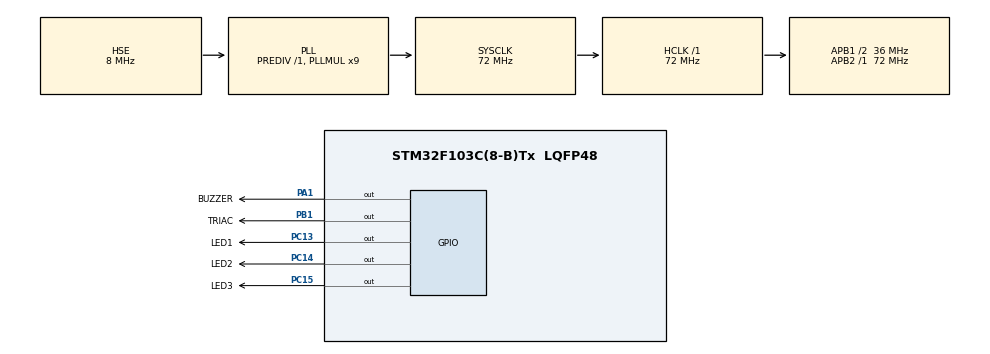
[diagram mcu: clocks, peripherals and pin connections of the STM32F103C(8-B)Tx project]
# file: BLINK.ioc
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Mcu.Family=STM32F1
Mcu.Name=STM32F103C(8-B)Tx
Mcu.Package=LQFP48
NVIC.PriorityGroup=NVIC_PRIORITYGROUP_4
NVIC.TIM1_BRK_IRQn=true\:0\:0\:false\:false\:true\:true\:true\:true
NVIC.TIM1_CC_IRQn=true\:0\:0\:false\:false\:true\:true\:true\:true
NVIC.TIM1_TRG_COM_IRQn=true\:0\:0\:false\:false\:true\:true\:true\:true
NVIC.TIM1_UP_IRQn=true\:0\:0\:false\:false\:true\:true\:true\:true
PA1.GPIO_Label=BUZZER
PA1.GPIO_Speed=GPIO_SPEED_FREQ_HIGH
PA1.Signal=GPIO_Output
PA13.Mode=Serial_Wire
PA13.Signal=SYS_JTMS-SWDIO
PA14.Mode=Serial_Wire
PA14.Signal=SYS_JTCK-SWCLK
PB1.GPIO_Label=TRIAC
PB1.GPIO_Speed=GPIO_SPEED_FREQ_HIGH
PB1.Signal=GPIO_Output
PC13-TAMPER-RTC.GPIO_Label=LED1
PC13-TAMPER-RTC.GPIO_Speed=GPIO_SPEED_FREQ_HIGH
PC13-TAMPER-RTC.PinState=GPIO_PIN_SET
PC13-TAMPER-RTC.Signal=GPIO_Output
PC14-OSC32_IN.GPIO_Label=LED2
PC14-OSC32_IN.GPIO_Speed=GPIO_SPEED_FREQ_HIGH
PC14-OSC32_IN.Signal=GPIO_Output
PC15-OSC32_OUT.GPIO_Label=LED3
PC15-OSC32_OUT.GPIO_Speed=GPIO_SPEED_FREQ_HIGH
PC15-OSC32_OUT.Signal=GPIO_Output
PD0-OSC_IN.Mode=HSE-External-Oscillator
PD0-OSC_IN.Signal=RCC_OSC_IN
PD1-OSC_OUT.Mode=HSE-External-Oscillator
PD1-OSC_OUT.Signal=RCC_OSC_OUT
ProjectManager.HeapSize=0x200
ProjectManager.StackSize=0x400
ProjectManager.TargetToolchain=STM32CubeIDE
RCC.AHBFreq_Value=72000000
RCC.APB1CLKDivider=RCC_HCLK_DIV2
RCC.APB1Freq_Value=36000000
RCC.APB1TimFreq_Value=72000000
RCC.APB2Freq_Value=72000000
RCC.APB2TimFreq_Value=72000000
RCC.HCLKFreq_Value=72000000
RCC.PLLMUL=RCC_PLL_MUL9
RCC.PLLSourceVirtual=RCC_PLLSOURCE_HSE
RCC.SYSCLKFreq_VALUE=72000000
RCC.SYSCLKSource=RCC_SYSCLKSOURCE_PLLCLK
RCC.USBFreq_Value=72000000
TIM1.Prescaler=72-1
VP_TIM1_VS_ClockSourceINT.Mode=Internal
board=custom

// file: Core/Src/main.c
/* USER CODE BEGIN Header */
/**
  ******************************************************************************
  * @file           : main.c
  * @brief          : Main program body
  ******************************************************************************
  * @attention
  *
  * Copyright (c) 2023 STMicroelectronics.
  * All rights reserved.
  *
  * This software is licensed under terms that can be found in the LICENSE file
  * in the root directory of this software component.
  * If no LICENSE file comes with this software, it is provided AS-IS.
  *
  ******************************************************************************
  */
/* USER CODE END Header */
#include "main.h"

/* USER CODE BEGIN PM */
#define LED_ON 0
#define LED_OFF 1
/* USER CODE END PM */

TIM_HandleTypeDef htim1;

/* USER CODE BEGIN PV */
uint16_t counter = 0;
uint32_t t1 = 0;
uint32_t t2 = 0;
uint32_t t3 = 0;
uint32_t t4 = 0;
uint8_t ledStatus1 = 0;
uint8_t ledStatus2 = 0;
uint8_t ledStatus3 = 0;
uint8_t ledStatus4 = 0;
/* USER CODE END PV */

void SystemClock_Config(void);
static void MX_GPIO_Init(void);
static void MX_TIM1_Init(void);

int main(void)
{
  /* USER CODE BEGIN 1 */
//	uint32_t t1 = 0;
//	uint8_t ledStatus = 0;

  /* USER CODE END 1 */

  /* MCU Configuration--------------------------------------------------------*/

  /* Reset of all peripherals, Initializes the Flash interface and the Systick. */
  HAL_Init();

  /* Configure the system clock */
  SystemClock_Config();

  /* Initialize all configured peripherals */
  MX_GPIO_Init();
  MX_TIM1_Init();
  /* USER CODE BEGIN 2 */
  HAL_TIM_Base_Start_IT(&htim1);
  HAL_GPIO_WritePin(TRIAC_GPIO_Port, TRIAC_Pin, 1);
  /* USER CODE END 2 */

  /* Infinite loop */
  /* USER CODE BEGIN WHILE */
  while (1)
  {
	  if(HAL_GetTick() - t1 >= 500){
		  t1 = HAL_GetTick();
		  ledStatus1 = ~ledStatus1;
		  HAL_GPIO_WritePin(LED1_GPIO_Port, LED1_Pin, ledStatus1);
	  }
	  if(HAL_GetTick() - t2 >= 1000){
		  t2 = HAL_GetTick();
		  ledStatus2 = ~ledStatus2;
		  HAL_GPIO_WritePin(LED2_GPIO_Port, LED2_Pin, ledStatus2);
	  }
	  if(HAL_GetTick() - t3 >= 1500){
		  t3 = HAL_GetTick();
		  ledStatus3 = ~ledStatus3;
		  HAL_GPIO_WritePin(LED3_GPIO_Port, LED3_Pin, ledStatus3);
	  }
	  if(HAL_GetTick() - t4 >= 1){
		  t4 = HAL_GetTick();
		  ledStatus4 = ~ledStatus4;
		  HAL_GPIO_WritePin(BUZZER_GPIO_Port, BUZZER_Pin, ledStatus4);
	  }
//---------------------------------BLINK LED--------------------------------//
//	  HAL_GPIO_WritePin(LED_GPIO_Port, LED_Pin, LED_ON);
//	  HAL_Delay(500);
//	  HAL_GPIO_WritePin(LED_GPIO_Port, LED_Pin, LED_OFF);
//	  HAL_Delay(500);

    /* USER CODE END WHILE */

  }
}

void SystemClock_Config(void)
{
  RCC_OscInitTypeDef RCC_OscInitStruct = {0};
  RCC_ClkInitTypeDef RCC_ClkInitStruct = {0};

  /** Initializes the RCC Oscillators according to the specified parameters
  * in the RCC_OscInitTypeDef structure.
  */
  RCC_OscInitStruct.OscillatorType = RCC_OSCILLATORTYPE_HSE;
  RCC_OscInitStruct.HSEState = RCC_HSE_ON;
  RCC_OscInitStruct.HSEPredivValue = RCC_HSE_PREDIV_DIV1;
  RCC_OscInitStruct.HSIState = RCC_HSI_ON;
  RCC_OscInitStruct.PLL.PLLState = RCC_PLL_ON;
  RCC_OscInitStruct.PLL.PLLSource = RCC_PLLSOURCE_HSE;
  RCC_OscInitStruct.PLL.PLLMUL = RCC_PLL_MUL9;
  if (HAL_RCC_OscConfig(&RCC_OscInitStruct) != HAL_OK)
  {
    Error_Handler();
  }

  /** Initializes the CPU, AHB and APB buses clocks
  */
  RCC_ClkInitStruct.ClockType = RCC_CLOCKTYPE_HCLK|RCC_CLOCKTYPE_SYSCLK
                              |RCC_CLOCKTYPE_PCLK1|RCC_CLOCKTYPE_PCLK2;
  RCC_ClkInitStruct.SYSCLKSource = RCC_SYSCLKSOURCE_PLLCLK;
  RCC_ClkInitStruct.AHBCLKDivider = RCC_SYSCLK_DIV1;
  RCC_ClkInitStruct.APB1CLKDivider = RCC_HCLK_DIV2;
  RCC_ClkInitStruct.APB2CLKDivider = RCC_HCLK_DIV1;

  if (HAL_RCC_ClockConfig(&RCC_ClkInitStruct, FLASH_LATENCY_2) != HAL_OK)
  {
    Error_Handler();
  }
}

static void MX_TIM1_Init(void)
{

  TIM_ClockConfigTypeDef sClockSourceConfig = {0};
  TIM_MasterConfigTypeDef sMasterConfig = {0};

  htim1.Instance = TIM1;
  htim1.Init.Prescaler = 72-1;
  htim1.Init.CounterMode = TIM_COUNTERMODE_UP;
  htim1.Init.Period = 65535;
  htim1.Init.ClockDivision = TIM_CLOCKDIVISION_DIV1;
  htim1.Init.RepetitionCounter = 0;
  htim1.Init.AutoReloadPreload = TIM_AUTORELOAD_PRELOAD_DISABLE;
  if (HAL_TIM_Base_Init(&htim1) != HAL_OK)
  {
    Error_Handler();
  }
  sClockSourceConfig.ClockSource = TIM_CLOCKSOURCE_INTERNAL;
  if (HAL_TIM_ConfigClockSource(&htim1, &sClockSourceConfig) != HAL_OK)
  {
    Error_Handler();
  }
  sMasterConfig.MasterOutputTrigger = TIM_TRGO_RESET;
  sMasterConfig.MasterSlaveMode = TIM_MASTERSLAVEMODE_DISABLE;
  if (HAL_TIMEx_MasterConfigSynchronization(&htim1, &sMasterConfig) != HAL_OK)
  {
    Error_Handler();
  }

}

static void MX_GPIO_Init(void)
{
  GPIO_InitTypeDef GPIO_InitStruct = {0};

  /* GPIO Ports Clock Enable */
  __HAL_RCC_GPIOC_CLK_ENABLE();
  __HAL_RCC_GPIOD_CLK_ENABLE();
  __HAL_RCC_GPIOA_CLK_ENABLE();
  __HAL_RCC_GPIOB_CLK_ENABLE();

  /*Configure GPIO pin Output Level */
  HAL_GPIO_WritePin(LED1_GPIO_Port, LED1_Pin, GPIO_PIN_SET);

  /*Configure GPIO pin Output Level */
  HAL_GPIO_WritePin(GPIOC, LED2_Pin|LED3_Pin, GPIO_PIN_RESET);

  /*Configure GPIO pin Output Level */
  HAL_GPIO_WritePin(BUZZER_GPIO_Port, BUZZER_Pin, GPIO_PIN_RESET);

  /*Configure GPIO pin Output Level */
  HAL_GPIO_WritePin(TRIAC_GPIO_Port, TRIAC_Pin, GPIO_PIN_RESET);

  /*Configure GPIO pins : LED1_Pin LED2_Pin LED3_Pin */
  GPIO_InitStruct.Pin = LED1_Pin|LED2_Pin|LED3_Pin;
  GPIO_InitStruct.Mode = GPIO_MODE_OUTPUT_PP;
  GPIO_InitStruct.Pull = GPIO_NOPULL;
  GPIO_InitStruct.Speed = GPIO_SPEED_FREQ_HIGH;
  HAL_GPIO_Init(GPIOC, &GPIO_InitStruct);

  /*Configure GPIO pin : BUZZER_Pin */
  GPIO_InitStruct.Pin = BUZZER_Pin;
  GPIO_InitStruct.Mode = GPIO_MODE_OUTPUT_PP;
  GPIO_InitStruct.Pull = GPIO_NOPULL;
  GPIO_InitStruct.Speed = GPIO_SPEED_FREQ_HIGH;
  HAL_GPIO_Init(BUZZER_GPIO_Port, &GPIO_InitStruct);

  /*Configure GPIO pin : TRIAC_Pin */
  GPIO_InitStruct.Pin = TRIAC_Pin;
  GPIO_InitStruct.Mode = GPIO_MODE_OUTPUT_PP;
  GPIO_InitStruct.Pull = GPIO_NOPULL;
  GPIO_InitStruct.Speed = GPIO_SPEED_FREQ_HIGH;
  HAL_GPIO_Init(TRIAC_GPIO_Port, &GPIO_InitStruct);

}

void Error_Handler(void)
{
  __disable_irq();
  while (1)
  {
  }
}
